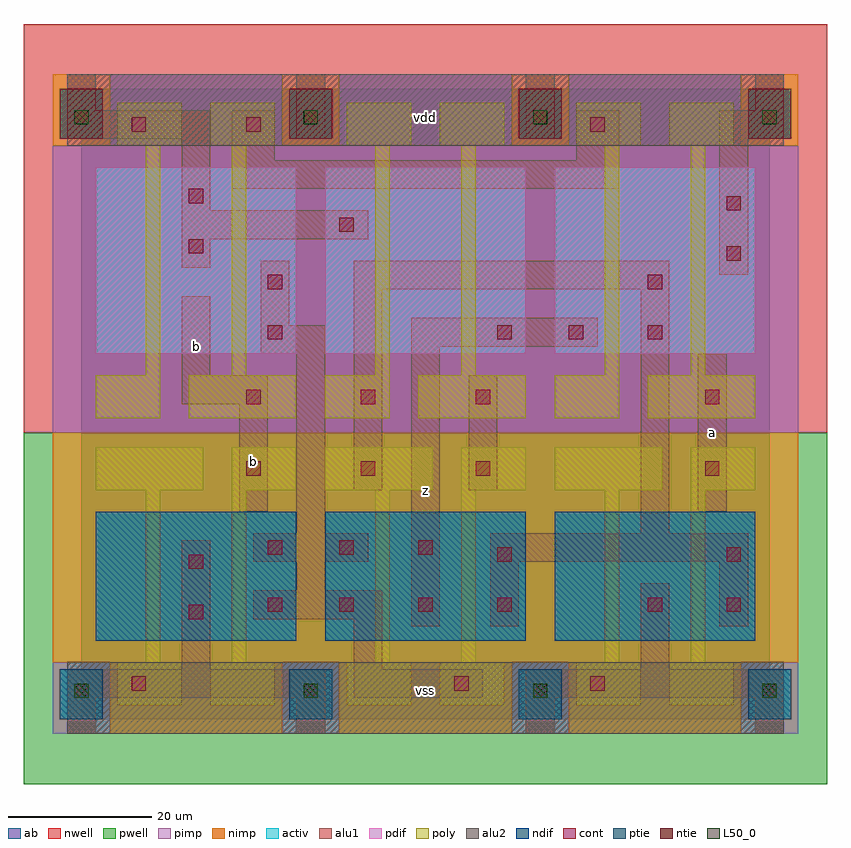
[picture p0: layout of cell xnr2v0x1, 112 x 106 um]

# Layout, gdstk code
import gdstk
lib = gdstk.Library(unit=1e-6, precision=1e-09)
def R(c, l, rs):  # rectangles x0, y0, x1, y1
    for r in rs: c.add(gdstk.rectangle(r[:2], r[2:], *l))
def A(c, l, x, y, w, h, nx, ny, dx, dy):  # array of equal rectangles
    R(c, l, [(x+i*dx, y+j*dy, x+i*dx+w, y+j*dy+h) for i in range(nx) for j in range(ny)])
ndif = (3, 0)
pdif = (4, 0)
ntie = (5, 0)
ptie = (6, 0)
cont = (25, 0)
pwell = (41, 0)
nwell = (42, 0)
activ = (43, 0)
pimp = (44, 0)
nimp = (45, 0)
poly = (46, 0)
alu1 = (49, 0)
L50_0 = (50, 0)
alu2 = (51, 0)
ab = (63, 0)

xnr2v0x1 = lib.new_cell('xnr2v0x1')
A(xnr2v0x1, ndif, 2, 11, 28, 18, 3, 1, 32, 0)
A(xnr2v0x1, pdif, 2, 51, 28, 26, 3, 1, 32, 0)
A(xnr2v0x1, ntie, -3, 81, 6, 7, 4, 1, 32, 0)
A(xnr2v0x1, ptie, -3, 0, 6, 7, 4, 1, 32, 0)
A(xnr2v0x1, cont, -1, 3, 2, 2, 4, 2, 32, 80)
A(xnr2v0x1, cont, 36, 15, 2, 2, 3, 1, 11, 0)
A(xnr2v0x1, cont, 23, 34, 2, 2, 3, 2, 16, 10)
R(xnr2v0x1, cont, [(7,4,9,6), (52,4,54,6), (71,4,73,6), (15,14,17,16), (26,15,28,17), (79,15,81,17), (90,15,92,17), (15,21,17,23), (58,22,60,24), (90,22,92,24), (26,23,28,25), (36,23,38,25), (47,23,49,25), (87,34,89,36), (87,44,89,46), (26,53,28,55), (58,53,60,55), (68,53,70,55), (79,53,81,55), (26,60,28,62), (79,60,81,62), (90,64,92,66), (15,65,17,67), (36,68,38,70), (90,71,92,73), (15,72,17,74), (7,82,9,84), (23,82,25,84), (71,82,73,84)])
R(xnr2v0x1, pwell, [(-8,-9,104,40)])
R(xnr2v0x1, nwell, [(-8,40,104,97)])
A(xnr2v0x1, activ, -3, 0, 6, 7, 4, 2, 32, 81)
A(xnr2v0x1, activ, 2, 11, 28, 18, 3, 1, 32, 0)
A(xnr2v0x1, activ, 2, 51, 28, 26, 3, 1, 32, 0)
A(xnr2v0x1, pimp, -4, -2, 8, 10, 4, 1, 32, 0)
A(xnr2v0x1, pimp, 4, 80, 24, 10, 3, 1, 32, 0)
R(xnr2v0x1, pimp, [(-4,40,100,80)])
A(xnr2v0x1, nimp, 4, -2, 24, 10, 3, 1, 32, 0)
A(xnr2v0x1, nimp, -4, 80, 8, 10, 4, 1, 32, 0)
R(xnr2v0x1, nimp, [(-4,8,100,40)])
A(xnr2v0x1, poly, 2, 32, 15, 6, 3, 1, 32, 0)
A(xnr2v0x1, poly, 21, 32, 9, 6, 3, 1, 32, 0)
A(xnr2v0x1, poly, 2, 42, 9, 6, 3, 1, 32, 0)
A(xnr2v0x1, poly, 15, 42, 15, 6, 3, 1, 32, 0)
R(xnr2v0x1, poly, [(5,2,14,8), (18,2,27,8), (37,2,46,8), (50,2,59,8), (69,2,78,8), (82,2,91,8), (9,8,11,32), (21,8,23,32), (41,8,43,32), (53,8,55,32), (73,8,75,32), (85,8,87,32), (9,48,11,80), (21,48,23,80), (41,48,43,80), (53,48,55,80), (73,48,75,80), (85,48,87,80), (5,80,14,86), (18,80,27,86), (37,80,46,86), (50,80,59,86), (69,80,78,86), (82,80,91,86)])
A(xnr2v0x1, alu1, -2, -2, 4, 5, 4, 1, 32, 0)
R(xnr2v0x1, alu1, [(-2,3,34,7), (38,3,56,7), (62,3,98,7), (14,7,18,25), (38,7,42,14), (78,7,82,19), (46,13,50,52), (57,13,61,22), (89,13,93,22), (24,14,42,18), (30,18,34,22), (24,22,40,26), (57,22,93,26), (30,26,34,51), (78,26,82,60), (22,29,26,44), (86,29,90,51), (38,32,42,60), (54,32,58,48), (14,44,26,48), (14,48,18,59), (25,51,34,55), (46,52,72,56), (25,55,29,64), (38,60,82,64), (89,62,93,81), (14,63,18,67), (14,67,40,71), (14,71,18,81), (21,74,75,78), (21,78,27,85), (69,78,75,85), (-2,81,18,85), (30,81,34,90), (62,81,66,90), (89,81,98,85), (-2,85,2,90), (94,85,98,90)])
A(xnr2v0x1, L50_0, -1, 3, 2, 2, 4, 2, 32, 80)
R(xnr2v0x1, alu2, [(-2,-2,98,8), (-2,80,98,90)])
R(xnr2v0x1, ab, [(0,0,96,88)])
xnr2v0x1.add(gdstk.Label('b', (16,52), layer=49, texttype=0))
xnr2v0x1.add(gdstk.Label('b', (24,36), layer=49, texttype=0))
xnr2v0x1.add(gdstk.Label('z', (48,32), layer=49, texttype=0))
xnr2v0x1.add(gdstk.Label('a', (88,40), layer=49, texttype=0))
xnr2v0x1.add(gdstk.Label('vss', (48,4), layer=51, texttype=0))
xnr2v0x1.add(gdstk.Label('vdd', (48,84), layer=51, texttype=0))

lib.write_gds('xnr2v0x1.gds')
